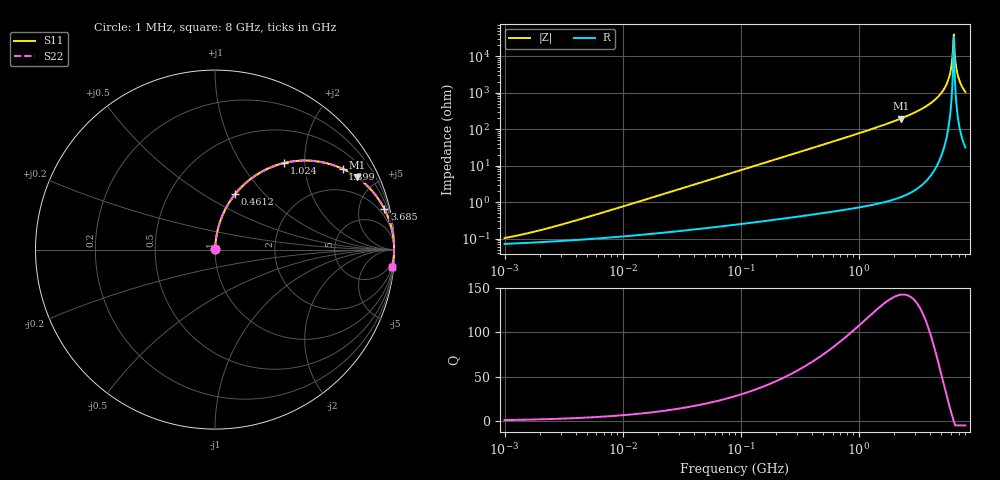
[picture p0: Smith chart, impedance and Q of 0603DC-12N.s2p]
# MHz  S  MA  R  50
!Freq  MagS11  AngS11  MagS21  AngS21  MagS12  AngS12  MagS22  AngS22
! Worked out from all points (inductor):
!   801 points, 1 MHz to 8 GHz, reference 50 ohm
!   read as one part in series: L = 12 nH near 3.599 MHz
!   highest Q = 142 at 2.273 GHz (marker M1), where L = 13.8 nH
!   self-resonance near 6.319 GHz
!   S11 on the Smith chart (normalised r, x): 1 MHz: 1.00, +0.00; 461.2 MHz: 1.01, +0.70; 1.024 GHz: 1.01, +1.58; 1.899 GHz: 1.02, +3.14; 3.685 GHz: 1.07, +8.35; 8 GHz: 2, -21
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1  0.001042 46.3  0.9993 -0.0  0.9993 -0.0  0.001042 46.3
4.505755  0.003523 74.3  0.9991 -0.2  0.9991 -0.2  0.003523 74.3
20.07503  0.01518 83.8  0.9985 -0.9  0.9985 -0.9  0.01518 83.8
90.45318  0.06793 84.1  0.9953 -3.9  0.9953 -3.9  0.06793 84.1
403.007  0.2906 72.2  0.9525 -16.9  0.9525 -16.9  0.2906 72.2
461.1677  0.3286 70.0  0.9399 -19.2  0.9399 -19.2  0.3286 70.0
1023.901  0.6183 51.3  0.7802 -38.2  0.7802 -38.2  0.6183 51.3
1795.566  0.8241 34.1  0.5604 -55.5  0.5604 -55.5  0.8241 34.1
1899.309  0.841 32.3  0.5351 -57.2  0.5351 -57.2  0.841 32.3
2273.303  0.8886 26.9  0.4524 -62.7  0.4524 -62.7  0.8886 26.9
3685.093  0.9706 13.4  0.2325 -76.1  0.2325 -76.1  0.9706 13.4
4613.449  0.9889 7.8  0.1352 -81.4  0.1352 -81.4  0.9889 7.8
5338.89  0.9953 4.2  0.07367 -84.3  0.07367 -84.3  0.9953 4.2
5840.928  0.9973 2.1  0.0362 -84.7  0.0362 -84.7  0.9973 2.1
5973.647  0.9976 1.5  0.02687 -84.0  0.02687 -84.0  0.9976 1.5
6178.402  0.9978 0.7  0.01296 -79.7  0.01296 -79.7  0.9978 0.7
6318.789  0.9978 0.2  0.004082 -57.4  0.004082 -57.4  0.9978 0.2
6535.374  0.9977 -0.6  0.01079 77.3  0.01079 77.3  0.9977 -0.6
6835.746  0.9972 -1.7  0.02932 83.7  0.02932 83.7  0.9972 -1.7
7149.923  0.9964 -2.7  0.04798 84.3  0.04798 84.3  0.9964 -2.7
7563.027  0.9948 -4.1  0.0714 83.8  0.0714 83.8  0.9948 -4.1
8000  0.9926 -5.4  0.09491 82.8  0.09491 82.8  0.9926 -5.4
